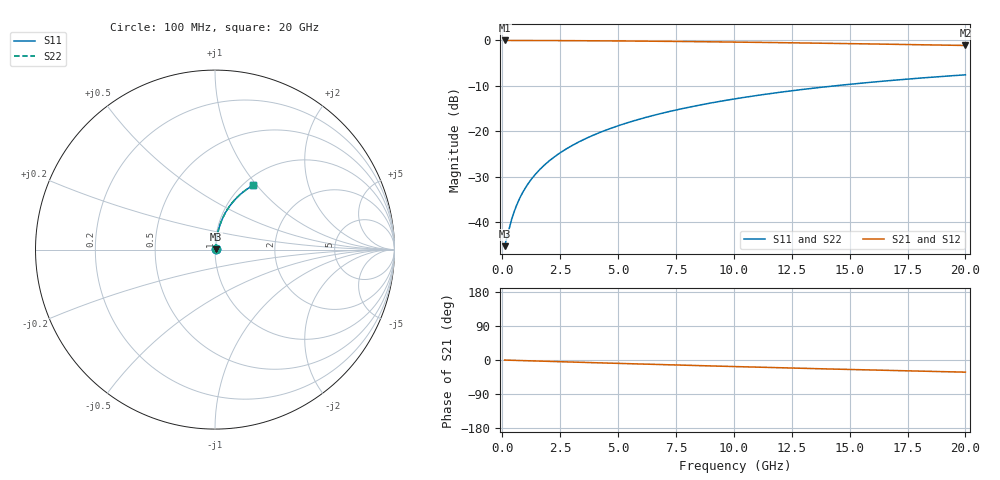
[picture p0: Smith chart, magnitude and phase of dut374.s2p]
! Touchstone file exported from HFSS 2024.1.0
!  File:  C:/UserFiles/LocalFiles/RDL_TSV_Batchsim/temp_RDL_bottom_374_1779613487.aedt
!  Generated:  05:07:46 PM May 24, 2026
!  Design:  RDL_bottom
!  Project:  temp_RDL_bottom_374_1779613487
!  Setup:  Setup1
!  Solution:  Sweep
! Variables:
!  dtsv = 10.80580581um
!  hbump = 3um
!  htsv = 54.32um
!  ldown = 344.45um
!  lrdl = 100um
!  p = 40
!  p1 = 53.25um
!  rhole = 1um
!  t = 450um
!  tdown = 2.45um
!  trdl = 3.915915916um
!  wdown = 10.47um
!  wrdl = 20um
# GHz S MA R 50.000000
! Terminal data exported
! Port[1] = RDL1_T1
! Port[2] = RDL1_T2
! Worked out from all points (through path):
!   200 points, 100 MHz to 20 GHz, reference 50 ohm
!   highest |S21| = -0.04 dB at 100 MHz (marker M1); lowest = -1.1 dB at 20 GHz (marker M2)
!   group delay of S21, straight-line fit = 4.46 ps
!   lowest |S11| = -45.3 dB at 100 MHz (marker M3), VSWR 1.01, Z = 50.5 + j0.238 ohm
!   |S11| at or under -10 dB: start of sweep to 14.41 GHz
!   |S22| runs from -45.3 to -7.6 dB; largest |S21 - S12| = 4.2e-15
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0.1  0.005423 25.7  0.9951 -0.2  0.9951 -0.2  0.005423 25.7
! Gamma 0 0 0 0
! Port Impedance 50 0 50 0
0.3  0.008607 54.5  0.995 -0.6  0.995 -0.6  0.008605 54.5
0.4  0.01061 61.5  0.9949 -0.7  0.9949 -0.7  0.01061 61.5
0.5  0.01272 66.1  0.9948 -0.9  0.9948 -0.9  0.01272 66.1
0.6  0.01489 69.4  0.9947 -1.1  0.9947 -1.1  0.01489 69.4
0.7  0.0171 71.8  0.9946 -1.3  0.9946 -1.3  0.0171 71.8
0.9  0.02157 74.9  0.9944 -1.6  0.9944 -1.6  0.02157 74.9
1.2  0.02834 77.6  0.994 -2.2  0.994 -2.2  0.02834 77.6
1.4  0.03286 78.7  0.9937 -2.5  0.9937 -2.5  0.03286 78.7
1.7  0.03966 79.7  0.9932 -3.1  0.9932 -3.1  0.03966 79.7
2.2  0.05099 80.6  0.9922 -4.0  0.9922 -4.0  0.05099 80.6
2.8  0.06459 81.0  0.9908 -5.0  0.9908 -5.0  0.06459 81.0
3.5  0.08048 80.9  0.9888 -6.3  0.9888 -6.3  0.08048 80.9
4.2  0.09637 80.5  0.9865 -7.5  0.9865 -7.5  0.09637 80.5
5  0.1145 79.8  0.9834 -8.9  0.9834 -8.9  0.1145 79.8
5.9  0.1349 78.9  0.9794 -10.5  0.9794 -10.5  0.1349 78.9
6.8  0.1552 77.8  0.9749 -12.0  0.9749 -12.0  0.1552 77.8
8.3  0.1886 75.8  0.9665 -14.5  0.9665 -14.5  0.1886 75.8
10.1  0.2278 73.3  0.955 -17.5  0.955 -17.5  0.2278 73.3
13.4  0.2963 68.5  0.9311 -22.6  0.9311 -22.6  0.2963 68.5
16.7  0.3595 63.8  0.9045 -27.5  0.9045 -27.5  0.3595 63.8
20  0.4166 59.3  0.8764 -32.1  0.8764 -32.1  0.4166 59.3
